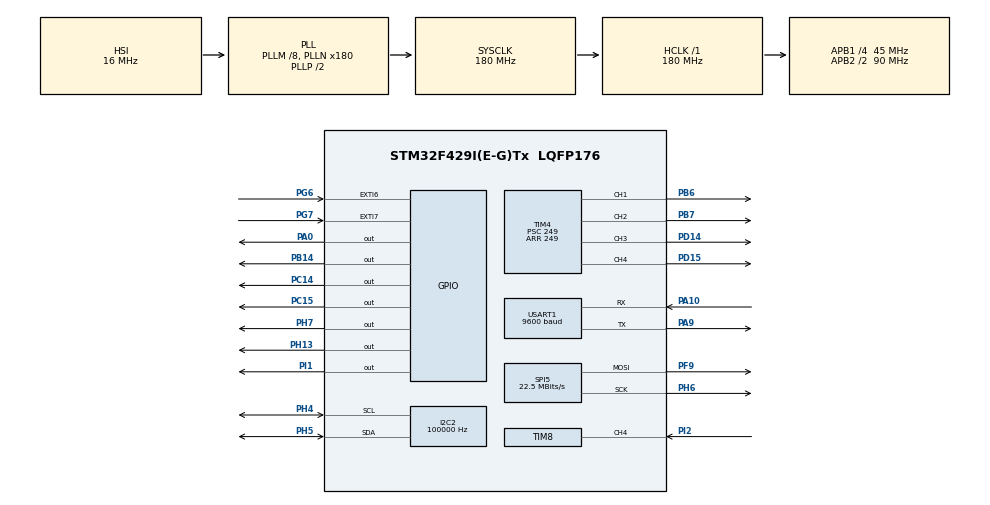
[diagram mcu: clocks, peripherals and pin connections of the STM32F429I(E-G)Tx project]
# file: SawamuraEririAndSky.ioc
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I2C2.ClockSpeed=100000
Mcu.Family=STM32F4
Mcu.Name=STM32F429I(E-G)Tx
Mcu.Package=LQFP176
NVIC.EXTI9_5_IRQn=true\:0\:0\:false\:false\:true\:true\:true\:true
NVIC.PriorityGroup=NVIC_PRIORITYGROUP_4
NVIC.TIM2_IRQn=true\:0\:0\:false\:false\:true\:true\:true\:true
NVIC.TIM3_IRQn=true\:0\:0\:false\:false\:true\:true\:true\:true
NVIC.TIM8_CC_IRQn=true\:0\:0\:false\:false\:true\:true\:true\:true
NVIC.USART1_IRQn=true\:0\:0\:false\:false\:true\:true\:true\:true
PA0/WKUP.Signal=GPIO_Output
PA10.GPIO_PuPd=GPIO_PULLUP
PA10.Mode=Asynchronous
PA10.Signal=USART1_RX
PA9.GPIO_PuPd=GPIO_PULLUP
PA9.Mode=Asynchronous
PA9.Signal=USART1_TX
PB14.GPIO_PuPd=GPIO_NOPULL
PB14.Signal=GPIO_Output
PB6.Signal=S_TIM4_CH1
PB7.Signal=S_TIM4_CH2
PC14/OSC32_IN.GPIO_PuPd=GPIO_PULLUP
PC14/OSC32_IN.Signal=GPIO_Output
PC15/OSC32_OUT.GPIO_PuPd=GPIO_PULLUP
PC15/OSC32_OUT.Signal=GPIO_Output
PD14.Signal=S_TIM4_CH3
PD15.Signal=S_TIM4_CH4
PF9.GPIO_PuPd=GPIO_PULLUP
PF9.Mode=TX_Only_Simplex_Unidirect_Master
PF9.Signal=SPI5_MOSI
PG6.GPIO_ModeDefaultEXTI=GPIO_MODE_IT_FALLING
PG6.Signal=GPXTI6
PG7.GPIO_ModeDefaultEXTI=GPIO_MODE_IT_FALLING
PG7.Signal=GPXTI7
PH0/OSC_IN.Mode=HSE-External-Oscillator
PH0/OSC_IN.Signal=RCC_OSC_IN
PH1/OSC_OUT.Mode=HSE-External-Oscillator
PH1/OSC_OUT.Signal=RCC_OSC_OUT
PH13.GPIO_Speed=GPIO_SPEED_FREQ_VERY_HIGH
PH13.Signal=GPIO_Output
PH4.GPIO_Pu=GPIO_PULLUP
PH4.Mode=I2C
PH4.Signal=I2C2_SCL
PH5.GPIO_Pu=GPIO_PULLUP
PH5.Mode=I2C
PH5.Signal=I2C2_SDA
PH6.GPIO_PuPd=GPIO_PULLUP
PH6.Mode=TX_Only_Simplex_Unidirect_Master
PH6.Signal=SPI5_SCK
PH7.GPIO_PuPd=GPIO_PULLUP
PH7.GPIO_Speed=GPIO_SPEED_FREQ_VERY_HIGH
PH7.Signal=GPIO_Output
PI1.Signal=GPIO_Output
PI2.Signal=S_TIM8_CH4
ProjectManager.HeapSize=0x200
ProjectManager.StackSize=0x400
ProjectManager.TargetToolchain=STM32CubeIDE
RCC.48MHZClocksFreq_Value=90000000
RCC.AHBFreq_Value=180000000
RCC.APB1CLKDivider=RCC_HCLK_DIV4
RCC.APB1Freq_Value=45000000
RCC.APB1TimFreq_Value=90000000
RCC.APB2CLKDivider=RCC_HCLK_DIV2
RCC.APB2Freq_Value=90000000
RCC.APB2TimFreq_Value=180000000
RCC.CortexFreq_Value=180000000
RCC.HCLKFreq_Value=180000000
RCC.HSE_VALUE=25000000
RCC.HSI_VALUE=16000000
RCC.LSE_VALUE=32768
RCC.PLLM=8
RCC.PLLN=180
RCC.SYSCLKFreq_VALUE=180000000
RCC.SYSCLKSource=RCC_SYSCLKSOURCE_PLLCLK
RCC.VCOOutputFreq_Value=360000000
SH.S_TIM4_CH1.0=TIM4_CH1,PWM Generation1 CH1
SH.S_TIM4_CH2.0=TIM4_CH2,PWM Generation2 CH2
SH.S_TIM4_CH3.0=TIM4_CH3,PWM Generation3 CH3
SH.S_TIM4_CH4.0=TIM4_CH4,PWM Generation4 CH4
SH.S_TIM8_CH4.0=TIM8_CH4,Input_Capture4_from_TI4
SPI5.BaudRatePrescaler=SPI_BAUDRATEPRESCALER_4
SPI5.CalculateBaudRate=22.5 MBits/s
SPI5.Direction=SPI_DIRECTION_2LINES
SPI5.Mode=SPI_MODE_MASTER
SPI5.VirtualType=VM_MASTER
TIM2.Period=499
TIM2.Prescaler=1599
TIM3.Period=499
TIM3.Prescaler=1599
TIM4.Channel-PWM\ Generation1\ CH1=TIM_CHANNEL_1
TIM4.Channel-PWM\ Generation2\ CH2=TIM_CHANNEL_2
TIM4.Channel-PWM\ Generation3\ CH3=TIM_CHANNEL_3
TIM4.Channel-PWM\ Generation4\ CH4=TIM_CHANNEL_4
TIM4.OCMode_PWM-PWM\ Generation2\ CH2=TIM_OCMODE_PWM2
TIM4.Period=249
TIM4.Prescaler=249
TIM4.Pulse-PWM\ Generation1\ CH1=20
TIM4.Pulse-PWM\ Generation2\ CH2=20
TIM4.Pulse-PWM\ Generation3\ CH3=20
TIM4.Pulse-PWM\ Generation4\ CH4=20
TIM8.Channel-Input_Capture4_from_TI4=TIM_CHANNEL_4
TIM8.ICPolarity_CH4=TIM_INPUTCHANNELPOLARITY_BOTHEDGE
TIM8.Prescaler=159
USART1.BaudRate=9600
USART1.VirtualMode=VM_ASYNC
VP_TIM2_VS_ClockSourceINT.Mode=Internal
VP_TIM3_VS_ClockSourceINT.Mode=Internal
VP_TIM4_VS_ClockSourceINT.Mode=Internal
board=custom

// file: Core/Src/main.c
/* USER CODE BEGIN Header */
/**
  ******************************************************************************
  * @file           : main.c
  * @brief          : Main program body
  ******************************************************************************
  * @attention
  *
  * Copyright (c) 2023 STMicroelectronics.
  * All rights reserved.
  *
  * This software is licensed under terms that can be found in the LICENSE file
  * in the root directory of this software component.
  * If no LICENSE file comes with this software, it is provided AS-IS.
  *
  ******************************************************************************
  */
/* USER CODE END Header */
#include "main.h"
#include "i2c.h"
#include "spi.h"
#include "tim.h"
#include "usart.h"
#include "gpio.h"

/* USER CODE BEGIN Includes */
#include "lcd_init.h"
#include "lcd.h"
#include "delay.h"
#include "MPU6050.h"
#include "BMP280.h"
#include "CH455_Library/CH455/ch455.h"
#include "pid.h"
#include "motor.h"

#include <math.h>
#include <string.h>
/* USER CODE END Includes */

/* USER CODE BEGIN PV */
static int keyInterrupt1 = 0; //PG6
static int keyInterrupt2 = 0; //PG7
int remote_control_flag=0;

int16_t acceleration_x = 0;  //三轴加速度
int16_t acceleration_y = 0;
int16_t acceleration_z = 0;

int16_t gyro_x = 0;  //三轴角加速度
int16_t gyro_y = 0;
int16_t gyro_z = 0;

float pitch, roll, yaw;
float Angle[3] = {0};//最终角度,IMU_Update中调用。

int pwm_duty = 750;//单位是1us
uint8_t uartRxBuffer[3];//串口接收缓存

uint16_t IC_Val1 = 0;           // input capture value1
int16_t IC_Val2 = 0;           // input capture value2
uint16_t Difference = 0;        // the difference between two captured values
uint8_t Is_First_Captured = 0;  // 0-尚未捕获第一个值, 1-已经捕获了第一个值

extern PID pid_fei;
float Pd_1 = 40;
float Id_1 = 0;
float Dd_1 = 5;
/* USER CODE END PV */

void SystemClock_Config(void);
/* USER CODE BEGIN PFP */

void HAL_GPIO_EXTI_Callback(uint16_t GPIO_PIN) {
    //读取按键输入，而后在TIM2的中断回调函数中完成对duty的修改
    if (GPIO_PIN == GPIO_PIN_6) {
        keyInterrupt1 = 1;

        __HAL_GPIO_EXTI_CLEAR_FLAG(GPIO_PIN_6);
    }
    if (GPIO_PIN == GPIO_PIN_7) {
        keyInterrupt2 = 1;
        __HAL_GPIO_EXTI_CLEAR_FLAG(GPIO_PIN_7);
    }
}

/*通过外部中断来修改占空比*/
void HAL_TIM_PeriodElapsedCallback(TIM_HandleTypeDef *htim) {
    if (htim->Instance == TIM2) {
        if (keyInterrupt1 == 1) {
            pwm_duty+=50;
            HAL_GPIO_TogglePin(GPIOB, GPIO_PIN_14);
//            __HAL_TIM_SET_COMPARE(&htim4, TIM_CHANNEL_1, pwm_duty);
//            __HAL_TIM_SET_COMPARE(&htim4, TIM_CHANNEL_2, pwm_duty);
            keyInterrupt1 = 0;
        }
        if (keyInterrupt2 == 1) {
            pwm_duty-=50;
            HAL_GPIO_TogglePin(GPIOB, GPIO_PIN_14);
//            __HAL_TIM_SET_COMPARE(&htim4, TIM_CHANNEL_1, pwm_duty);
//            __HAL_TIM_SET_COMPARE(&htim4, TIM_CHANNEL_2, pwm_duty);
            keyInterrupt2 = 0;
        }
    }
}

void USART1_IRQHandler(void) {
    /* USER CODE BEGIN USART1_IRQn 0 */
    HAL_UART_IRQHandler(&huart1);
    remote_control_flag=1;
    if (HAL_UART_Receive_IT(&huart1, (uint8_t *) uartRxBuffer, 3) == HAL_OK) {
        HAL_UART_Transmit(&huart1, uartRxBuffer, sizeof(uartRxBuffer), 50);
        while (__HAL_UART_GET_FLAG(&huart1, UART_FLAG_TC) != SET);

        if (uartRxBuffer[2] == 69) {
            HAL_GPIO_WritePin(GPIOA, GPIO_PIN_0, GPIO_PIN_SET);
        } else {
            HAL_GPIO_WritePin(GPIOA, GPIO_PIN_0, GPIO_PIN_RESET);
        }
        // memset(uartRxBuffer,0,sizeof(uartRxBuffer));
    }
    /* USER CODE END USART1_IRQn 0 */
    //  HAL_UART_IRQHandler(&huart1);
    /* USER CODE BEGIN USART1_IRQn 1 */

    /* USER CODE END USART1_IRQn 1 */
}
/*用于将补码转化成原码*/
int16_t getOriginalNum(int16_t num) {
    if (num & 0x8000)//判断最高位是否为1，1表示该数是一个负数
    {
        num = ~num + 1;//转化成原码的形式
    }
    return num;
}
/*用于将红外解码器读取到的数据转化成可以直接在数码管上显示的数字*/
uint8_t Decode(uint8_t raw_data)
{
    switch (raw_data) {
        case 69: {
            return 1;
        }
        case 70: {
            return 2;
        }
        case 71:
        {
            return 3;
        }
        case 68:
        {
            return 4;
        }
        case 64:
        {
            return 5;
        }
        case 67:
        {
            return 6;
        }
        case 7:
        {
            return 7;
        }
        case 21:
        {
            return 8;
        }
        case 9:
        {
            return 9;
        }
        case 25:
        {
            return 0;
        }
        case 22: {
            return '*';
        }
        case 13:
        {
            return '#';
        }
        case 90:
        {
            return 90;
        }
        case 82:
        {
            return 80;
        }
        case 28:
        {
            return 'o';
        }
        default:return 3;
    }
}

/* USER CODE END PFP */

int main(void)
{

  /* MCU Configuration--------------------------------------------------------*/

  /* Reset of all peripherals, Initializes the Flash interface and the Systick. */
  HAL_Init();

  /* Configure the system clock */
  SystemClock_Config();

  /* Initialize all configured peripherals */
  MX_GPIO_Init();
  MX_SPI5_Init();
  MX_TIM2_Init();
  MX_TIM4_Init();
  MX_TIM3_Init();
  MX_I2C2_Init();
  MX_USART1_UART_Init();
  MX_TIM8_Init();
  /* USER CODE BEGIN 2 */

    HAL_TIM_Base_Start_IT(&htim2);
    HAL_TIM_Base_Start_IT(&htim3);
    HAL_TIM_Base_Start(&htim8);
    HAL_TIM_PWM_Start(&htim4, TIM_CHANNEL_1);
    HAL_TIM_PWM_Start(&htim4, TIM_CHANNEL_2);
    HAL_TIM_IC_Start_IT(&htim8, TIM_CHANNEL_4);
    //HAL_TIM_Base_Start(&htim2);
    __HAL_UART_ENABLE_IT(&huart1, UART_IT_RXNE);

    delay_init(100);

    LCD_Init();
    CH455_init();
    MPU6050_Init(&hi2c2);
    Bmp_Init();
   // Positional_PID_Init(&pid_fei,Pd_1,Id_1,Dd_1,50,10000);
    pid_init();
    //MPU_Init();
    LCD_Fill(0, 0, LCD_H, LCD_W, WHITE);
    LCD_ShowString(10, 0, "H_time:", BLUE, WHITE, 32, 0);
    LCD_ShowString(10, 32, "Pres:", BLUE, WHITE, 32, 0);
    LCD_ShowString(10, 64, "pitch:", BLUE, WHITE, 32, 0);
    LCD_ShowString(10, 96, "roll:", BLUE, WHITE, 32, 0);
    LCD_ShowString(10, 128, "yaw:", BLUE, WHITE, 32, 0);
    LCD_ShowString(10, 160, "UART_R:", BLUE, WHITE, 32, 0);
    LCD_ShowString(10, 192, "H:", BLUE, WHITE, 32, 0);

    LCD_ShowString(190, 192, "cm", RED, WHITE, 32, 0);
    LCD_ShowString(190, 0, "us", RED, WHITE, 32, 0);
    LCD_ShowString(190, 32, "kpa", RED, WHITE, 32, 0);

    HAL_GPIO_WritePin(GPIOI, GPIO_PIN_1, GPIO_PIN_RESET);
    HAL_UART_Transmit(&huart1, "Hello", sizeof("Hello"), 20);

  /* USER CODE END 2 */

  /* Infinite loop */
  /* USER CODE BEGIN WHILE */

    double pressure;
    while (1) {
    /* USER CODE END WHILE */

    /* USER CODE BEGIN 3 */
        MPU6050_ReadAccel(&hi2c2, &acceleration_x, &acceleration_y, &acceleration_z);
        MPU6050_ReadGyro(&hi2c2, &gyro_x, &gyro_y, &gyro_z);
        IMU_Update(gyro_x, gyro_y, gyro_z, acceleration_x, acceleration_y, acceleration_z, &Angle[0]);
        pressure = BMP280_Get_Pressure();
        pitch = Angle[0];
        roll = Angle[1];
        yaw = Angle[2];
        LCD_ShowIntNum(120, 0, pwm_duty, 4, RED, WHITE, 32);
        LCD_ShowFloatNum1(90, 32, pressure/1000.0, 5, RED, WHITE, 32);
        LCD_ShowIntNum(130, 160, uartRxBuffer[2], 2, RED, WHITE, 32);
        LCD_ShowFloatNum1(80, 192, Difference * 0.00064 / 2.0 * 340, 5, RED, WHITE, 32);//距离单位是cm
        //LCD_ShowFloatNum1(120, 200, pid_fei.output, 6, RED, WHITE, 16);
        MPU6050_LCD_PrintAngle(pitch, roll, yaw);

        //数码管显示串口接收到的数据
        CH455_Display(1, 0);
        CH455_Display(2, 0);
        CH455_Display(3,0);
        CH455_Display(4, Decode(uartRxBuffer[2]));

        //超声波模块的控制
        HAL_GPIO_WritePin(GPIOI,GPIO_PIN_1,GPIO_PIN_SET);//发送一个Trig信号
        delay_us(10);
        HAL_GPIO_WritePin(GPIOI,GPIO_PIN_1,GPIO_PIN_RESET);

        HAL_Delay(200);
//        MPU6050_LCD_PrintAccel(acceleration_x, acceleration_y, acceleration_z);
//        MPU6050_LCD_PrintGyro(gyro_x, gyro_y, gyro_z);
    }

  /* USER CODE END 3 */
}

void SystemClock_Config(void)
{
  RCC_OscInitTypeDef RCC_OscInitStruct = {0};
  RCC_ClkInitTypeDef RCC_ClkInitStruct = {0};

  /** Configure the main internal regulator output voltage
  */
  __HAL_RCC_PWR_CLK_ENABLE();
  __HAL_PWR_VOLTAGESCALING_CONFIG(PWR_REGULATOR_VOLTAGE_SCALE1);

  /** Initializes the RCC Oscillators according to the specified parameters
  * in the RCC_OscInitTypeDef structure.
  */
  RCC_OscInitStruct.OscillatorType = RCC_OSCILLATORTYPE_HSI;
  RCC_OscInitStruct.HSIState = RCC_HSI_ON;
  RCC_OscInitStruct.HSICalibrationValue = RCC_HSICALIBRATION_DEFAULT;
  RCC_OscInitStruct.PLL.PLLState = RCC_PLL_ON;
  RCC_OscInitStruct.PLL.PLLSource = RCC_PLLSOURCE_HSI;
  RCC_OscInitStruct.PLL.PLLM = 8;
  RCC_OscInitStruct.PLL.PLLN = 180;
  RCC_OscInitStruct.PLL.PLLP = RCC_PLLP_DIV2;
  RCC_OscInitStruct.PLL.PLLQ = 4;
  if (HAL_RCC_OscConfig(&RCC_OscInitStruct) != HAL_OK)
  {
    Error_Handler();
  }

  /** Activate the Over-Drive mode
  */
  if (HAL_PWREx_EnableOverDrive() != HAL_OK)
  {
    Error_Handler();
  }

  /** Initializes the CPU, AHB and APB buses clocks
  */
  RCC_ClkInitStruct.ClockType = RCC_CLOCKTYPE_HCLK|RCC_CLOCKTYPE_SYSCLK
                              |RCC_CLOCKTYPE_PCLK1|RCC_CLOCKTYPE_PCLK2;
  RCC_ClkInitStruct.SYSCLKSource = RCC_SYSCLKSOURCE_PLLCLK;
  RCC_ClkInitStruct.AHBCLKDivider = RCC_SYSCLK_DIV1;
  RCC_ClkInitStruct.APB1CLKDivider = RCC_HCLK_DIV4;
  RCC_ClkInitStruct.APB2CLKDivider = RCC_HCLK_DIV2;

  if (HAL_RCC_ClockConfig(&RCC_ClkInitStruct, FLASH_LATENCY_5) != HAL_OK)
  {
    Error_Handler();
  }
}

void Error_Handler(void)
{
    __disable_irq();
    while (1) {
    }
}
